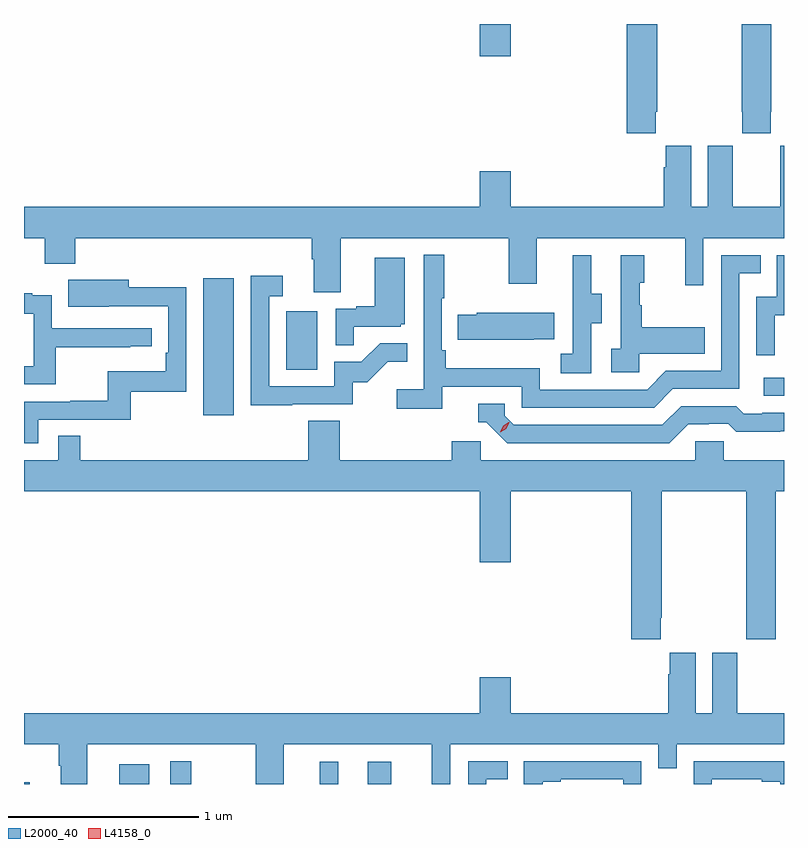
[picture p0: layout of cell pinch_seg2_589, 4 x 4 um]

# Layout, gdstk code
import gdstk
lib = gdstk.Library(unit=1e-6, precision=1e-09)
def R(c, l, rs):  # rectangles x0, y0, x1, y1
    for r in rs: c.add(gdstk.rectangle(r[:2], r[2:], *l))
def P(c, l, *ps):  # polygons
    for p in ps: c.add(gdstk.Polygon(p, *l))
L2000_40 = (2000, 40)
L4158_0 = (4158, 0)

pinch_seg2_589 = lib.new_cell('pinch_seg2_589')
R(pinch_seg2_589, L2000_40, [(1061.709,614.127,1061.74,614.137), (1062.209,614.127,1062.367,614.23), (1062.48,614.127,1062.589,614.248), (1063.265,614.127,1063.363,614.245), (1063.518,614.127,1063.642,614.245), (1062.653,616.068,1062.814,616.789), (1065.603,616.17,1065.709,616.266), (1063.088,616.308,1063.252,616.615), (1064.108,617.958,1064.272,618.127)])
P(pinch_seg2_589, L2000_40, [(1065.639,617.665),(1065.642,617.665),(1065.642,618.127),(1065.487,618.127),(1065.487,617.665),(1065.489,617.665),(1065.489,617.553),(1065.639,617.553)],
  [(1065.035,617.665),(1065.042,617.665),(1065.042,618.127),(1064.882,618.127),(1064.882,617.553),(1065.035,617.553)],
  [(1063.375,617),(1064.26,617),(1064.26,616.761),(1064.407,616.761),(1064.407,617),(1065.188,617),(1065.188,616.752),(1065.285,616.752),(1065.285,617),(1065.709,617),(1065.709,617.485),(1065.69,617.485),(1065.69,617.372),(1065.689,617.372),(1065.689,617.164),(1065.439,617.164),(1065.439,617.372),(1065.438,617.372),(1065.438,617.485),(1065.308,617.485),(1065.308,617.164),(1065.22,617.164),(1065.22,617.485),(1065.086,617.485),(1065.086,617.372),(1065.077,617.372),(1065.077,617.164),(1064.272,617.164),(1064.272,617.353),(1064.108,617.353),(1064.108,617.164),(1061.709,617.164),(1061.709,617),(1061.818,617),(1061.818,616.865),(1061.978,616.865),(1061.978,617),(1063.223,617),(1063.223,616.888),(1063.235,616.888),(1063.235,616.714),(1063.375,616.714)],
  [(1063.91,616.218),(1064.328,616.218),(1064.328,616.107),(1065.025,616.107),(1065.124,616.206),(1065.474,616.206),(1065.474,616.815),(1065.587,616.815),(1065.587,616.911),(1065.378,616.911),(1065.378,616.302),(1065.087,616.302),(1064.988,616.203),(1064.424,616.203),(1064.424,616.315),(1063.928,616.315),(1063.928,616.411),(1063.908,616.411),(1063.908,616.684),(1063.921,616.684),(1063.921,616.912),(1063.812,616.912),(1063.812,616.204),(1063.671,616.204),(1063.671,616.102),(1063.91,616.102)],
  [(1065.66,616.595),(1065.709,616.595),(1065.709,616.911),(1065.672,616.911),(1065.672,616.692),(1065.564,616.692),(1065.564,616.383),(1065.66,616.383)],
  [(1064.694,616.552),(1064.749,616.552),(1064.749,616.707),(1064.695,616.707),(1064.695,616.909),(1064.597,616.909),(1064.597,616.695),(1064.598,616.695),(1064.598,616.391),(1064.535,616.391),(1064.535,616.288),(1064.694,616.288)],
  [(1064.946,616.391),(1065.293,616.391),(1065.293,616.531),(1064.959,616.531),(1064.959,616.646),(1064.949,616.646),(1064.949,616.764),(1064.974,616.764),(1064.974,616.909),(1064.85,616.909),(1064.85,616.418),(1064.799,616.418),(1064.799,616.293),(1064.946,616.293)],
  [(1063.445,616.533),(1063.692,616.533),(1063.692,616.548),(1063.714,616.548),(1063.714,616.897),(1063.556,616.897),(1063.556,616.642),(1063.457,616.642),(1063.457,616.629),(1063.35,616.629),(1063.35,616.435),(1063.445,616.435)],
  [(1063.121,616.125),(1063.44,616.125),(1063.44,616.242),(1063.516,616.242),(1063.623,616.349),(1063.727,616.349),(1063.727,616.448),(1063.583,616.448),(1063.485,616.35),(1063.341,616.35),(1063.341,616.221),(1062.999,616.221),(1062.999,616.695),(1063.072,616.695),(1063.072,616.801),(1062.903,616.801),(1062.903,616.12),(1063.121,616.12)],
  [(1061.784,616.044),(1062.271,616.044),(1062.271,616.191),(1062.564,616.191),(1062.564,616.742),(1062.259,616.742),(1062.259,616.78),(1061.941,616.78),(1061.941,616.64),(1062.155,616.64),(1062.155,616.641),(1062.468,616.641),(1062.468,616.396),(1062.455,616.396),(1062.455,616.3),(1062.15,616.3),(1062.15,616.145),(1061.953,616.145),(1061.953,616.14),(1061.709,616.14),(1061.709,615.921),(1061.784,615.921)],
  [(1061.876,616.426),(1062.269,616.426),(1062.269,616.431),(1062.382,616.431),(1062.382,616.527),(1061.856,616.527),(1061.856,616.699),(1061.753,616.699),(1061.753,616.711),(1061.709,616.711),(1061.709,616.602),(1061.76,616.602),(1061.76,616.326),(1061.709,616.326),(1061.709,616.23),(1061.876,616.23)],
  [(1064.393,616.469),(1064.501,616.469),(1064.501,616.606),(1064.091,616.606),(1064.091,616.596),(1063.993,616.596),(1063.993,616.466),(1064.393,616.466)],
  [(1065.205,616.02),(1065.312,616.02),(1065.312,616.023),(1065.415,616.023),(1065.457,615.981),(1065.69,615.981),(1065.69,615.983),(1065.709,615.983),(1065.709,616.08),(1065.595,616.08),(1065.595,616.077),(1065.496,616.077),(1065.457,616.116),(1065.168,616.116),(1065.069,616.017),(1064.286,616.017),(1064.238,616.065),(1064.238,616.128),(1064.099,616.128),(1064.099,616.032),(1064.142,616.032),(1064.253,615.921),(1065.106,615.921)],
  [(1065.061,615.001),(1065.066,615.001),(1065.066,615.668),(1065.511,615.668),(1065.511,614.889),(1065.666,614.889),(1065.666,615.668),(1065.709,615.668),(1065.709,615.832),(1065.393,615.832),(1065.393,615.93),(1065.243,615.93),(1065.243,615.832),(1064.112,615.832),(1064.112,615.93),(1063.961,615.93),(1063.961,615.832),(1063.37,615.832),(1063.37,616.04),(1063.205,616.04),(1063.205,615.832),(1062.005,615.832),(1062.005,615.959),(1061.889,615.959),(1061.889,615.832),(1061.709,615.832),(1061.709,615.668),(1064.108,615.668),(1064.108,615.294),(1064.272,615.294),(1064.272,615.668),(1064.906,615.668),(1064.906,614.889),(1065.061,614.889)],
  [(1062.043,614.336),(1062.928,614.336),(1062.928,614.127),(1063.075,614.127),(1063.075,614.336),(1063.856,614.336),(1063.856,614.127),(1063.953,614.127),(1063.953,614.336),(1065.048,614.336),(1065.048,614.209),(1065.144,614.209),(1065.144,614.336),(1065.709,614.336),(1065.709,614.5),(1065.463,614.5),(1065.463,614.818),(1065.332,614.818),(1065.332,614.5),(1065.244,614.5),(1065.244,614.818),(1065.107,614.818),(1065.107,614.705),(1065.101,614.705),(1065.101,614.5),(1064.272,614.5),(1064.272,614.689),(1064.108,614.689),(1064.108,614.5),(1061.709,614.5),(1061.709,614.336),(1061.891,614.336),(1061.891,614.224),(1061.903,614.224),(1061.903,614.127),(1062.043,614.127)],
  [(1065.33,614.151),(1065.593,614.151),(1065.593,614.139),(1065.689,614.139),(1065.689,614.127),(1065.709,614.127),(1065.709,614.247),(1065.234,614.247),(1065.234,614.127),(1065.33,614.127)],
  [(1064.438,614.139),(1064.533,614.139),(1064.533,614.151),(1064.862,614.151),(1064.862,614.127),(1064.958,614.127),(1064.958,614.247),(1064.34,614.247),(1064.34,614.127),(1064.438,614.127)],
  [(1064.142,614.151),(1064.255,614.151),(1064.255,614.247),(1064.046,614.247),(1064.046,614.127),(1064.142,614.127)])
P(pinch_seg2_589, L4158_0, [(1064.215,615.979),(1064.215,615.979),(1064.231,616.012),(1064.261,616.031),(1064.262,616.031),(1064.262,616.03),(1064.246,615.998),(1064.215,615.979)])

lib.write_gds('pinch_seg2_589.gds')
